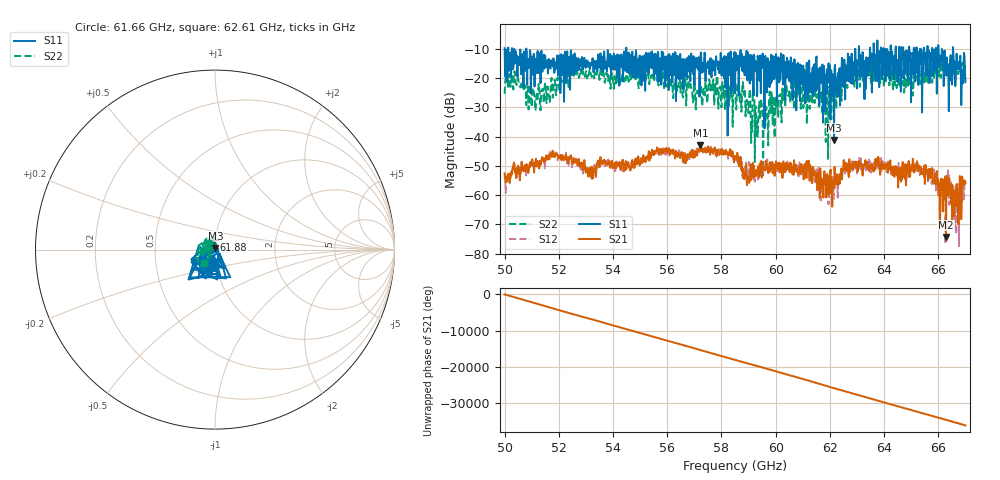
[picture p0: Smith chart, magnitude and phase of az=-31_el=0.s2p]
!Created with skrf (http://scikit-rf.org).
# GHz S RI R 50.0
!freq ReS11 ImS11 ReS21 ImS21 ReS12 ImS12 ReS22 ImS22
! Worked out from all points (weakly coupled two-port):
!   1001 points, 50 GHz to 67 GHz, reference 50 ohm
!   highest |S21| = -42.81 dB at 57.23 GHz (marker M1); lowest = -74.3 dB at 66.29 GHz (marker M2)
!   lowest |S11| = -41.2 dB at 62.16 GHz (marker M3), VSWR 1.02, Z = 50.2 + j0.841 ohm
!   |S11| at or under -10 dB: 50.8 GHz to 54.49 GHz (3.685 GHz wide, 7 % of centre); 54.49 GHz to 62.94 GHz (8.447 GHz wide, 14.4 % of centre); 66.55 GHz to end of sweep (the widest 3 of 31)
!   |S22| runs from -53.2 to -14.0 dB; largest |S21 - S12| = 0.0022
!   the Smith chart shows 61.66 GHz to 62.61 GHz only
!   S11 on the Smith chart (normalised r, x): 61.66 GHz: 0.97, -0.16; 61.88 GHz: 0.98, +0.11; 62.61 GHz: 0.86, -0.10
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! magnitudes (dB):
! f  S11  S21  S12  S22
! 50 GHz  -9.7  -52.6  -54.0  -25.3
! 50.34 GHz  -12.8  -49.2  -48.9  -19.4
! 51.07 GHz  -11.7  -49.4  -48.9  -24.3
! 51.72 GHz  -13.9  -45.6  -45.8  -20.4
! 52.84 GHz  -13.4  -49.9  -51.5  -19.0
! 54.69 GHz  -18.6  -48.6  -49.2  -19.7
! 55.68 GHz  -13.6  -45.3  -45.9  -22.5
! 57.23 GHz  -12.6  -42.8  -43.6  -22.3
! 58.5 GHz  -25.2  -46.6  -47.1  -24.0
! 58.86 GHz  -19.1  -52.2  -50.5  -23.6
! 59.32 GHz  -26.2  -51.2  -54.3  -33.9
! 60.64 GHz  -14.8  -50.4  -50.2  -22.3
! 61.34 GHz  -24.9  -55.9  -53.7  -25.7
! 61.66 GHz  -21.7  -54.4  -61.9  -26.6
! 61.88 GHz  -25.0  -55.8  -55.2  -22.9
! 62.16 GHz  -41.2  -57.3  -56.0  -29.3
! 62.61 GHz  -20.8  -51.7  -51.6  -20.3
! 64.18 GHz  -18.0  -49.0  -50.7  -18.9
! 65.27 GHz  -22.3  -51.9  -49.7  -19.1
! 66.29 GHz  -16.0  -74.3  -60.9  -15.9
! 66.68 GHz  -11.6  -56.2  -62.7  -15.2
! 67 GHz  -21.4  -55.9  -55.2  -15.5
